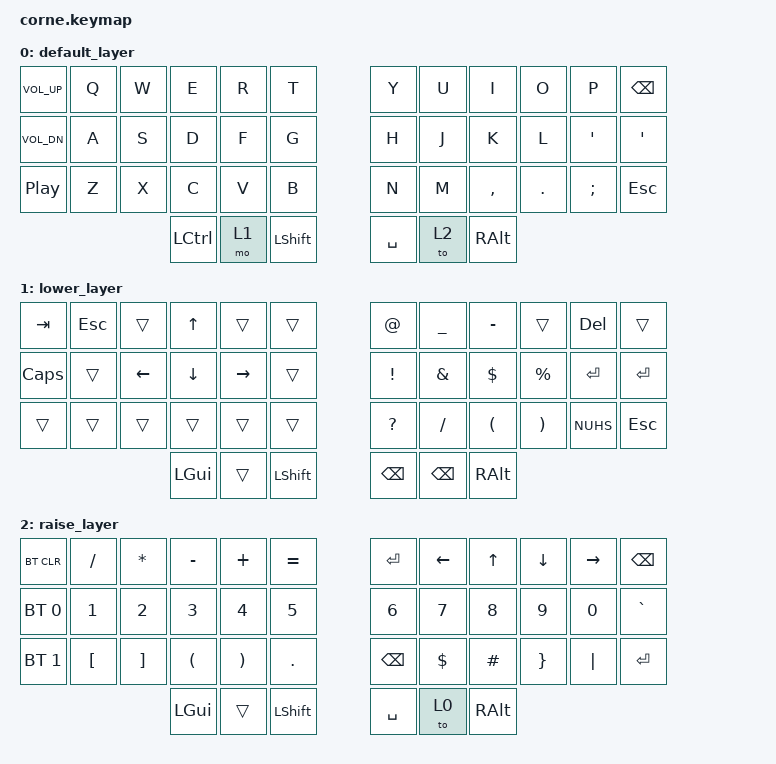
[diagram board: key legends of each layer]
/*
 * Copyright (c) 2020 The ZMK Contributors
 *
 * SPDX-License-Identifier: MIT
 */

#include <behaviors.dtsi>
#include <dt-bindings/zmk/keys.h>
#include <dt-bindings/zmk/bt.h>

/ {
        keymap {
                compatible = "zmk,keymap";

                default_layer {
// -----------------------------------------------------------------------------------------
// | VOL_UP     |  Q  |  W  |  E  |  R  |  T  |                   |  Y  |  U   |  I  |  O  |  P  | BKSP |
// | VOL_DN     |  A  |  S  |  D  |  F  |  G  |                   |  H  |  J   |  K  |  L  |  '  |  '   |
// | PLAY_PAUSE |  Z  |  X  |  C  |  V  |  B  |                   |  N  |  M   |  ,  |  .  |  ;  | ESC  |
//                          | GUI | LWR | SPC |                   | ENT | RSE  | ALT |
                        bindings = <
   &kp C_VOL_UP     &kp Q   &kp W  &kp E  &kp R  &kp T           &kp Y  &kp U  &kp I     &kp O   &kp P    &kp BSPC
   &kp C_VOL_DN     &kp A   &kp S  &kp D  &kp F  &kp G           &kp H  &kp J  &kp K     &kp L   &kp APOS &kp SQT
   &kp C_PLAY_PAUSE &kp Z   &kp X  &kp C  &kp V  &kp B           &kp N  &kp M  &kp COMMA &kp DOT &kp SEMI &kp ESC
                         &kp LCTRL   &mo 1   &kp LSHFT           &kp SPACE &to 2 &kp RALT
                        >;
                };
                lower_layer {
// -----------------------------------------------------------------------------------------
// |  TAB   | ESC |      |  UP  |       |     |                                           | @ |  _  |  -  |     | DEL |     |
// | CAPS   |     | LEFT | DOWN | RIGHT |     |                                           | ! |  &  |  $  |  %  | ENT |     |
// |        |     |      |      |       |     |                                           | ? |  /  |  (  |  )  |  \  |     | 
//                          | GUI |     |SHIFT|                                           |BKSP|BKSP| ALT |
                        bindings = <
   &kp TAB    &kp ESC      &trans       &kp UP       &trans       &trans                 &kp AT_SIGN        &kp UNDERSCORE   &kp MINUS     &trans      &kp DEL    &trans
   &kp CAPS   &trans       &kp LEFT     &kp DOWN     &kp RIGHT    &trans                 &kp EXCLAMATION    &kp AMPERSAND    &kp DOLLAR    &kp PERCENT &kp ENTER &kp ENTER
   &trans     &trans       &trans       &trans       &trans       &trans                 &kp QMARK          &kp SLASH        &kp LPAR      &kp RPAR    &kp NUHS  &kp ESC
                                        &kp LGUI     &trans       &kp LSHFT              &kp BSPC           &kp BSPC         &kp RALT
                        >;
                };

                raise_layer {
// -----------------------------------------------------------------------------------------
// | BT_CLR  |  /  |  *  |  -  |  +  |  =  |                                        | ENT | LFT | UP  | DWN | RGHT | BKSP |
// | BT1     |  1  |  2  |  3  |  4  |  5  |                                        |  6  |  7  |  8  |  9  |  0   |  `   |
// | BT2     |  [  |  ]  |  (  |  )  |  .  |                                        |  _  |  +  |  {  |  }  |  |   |  ~   |
//                       | GUI |     | SHFT |                                       | BKSP| TO0 | ALT |
                        bindings = <
   &bt BT_CLR    &kp SLASH &kp ASTERISK &kp MINUS  &kp PLUS   &kp EQUAL           &kp ENTER &kp LEFT    &kp UP     &kp DOWN  &kp RIGHT &kp BSPC
   &bt BT_SEL 0  &kp N1    &kp N2       &kp N3     &kp N4     &kp N5              &kp N6    &kp N7      &kp N8     &kp N9    &kp N0    &kp GRAVE
   &bt BT_SEL 1  &kp LBKT  &kp RBKT     &kp LPAR   &kp RPAR   &kp PERIOD          &kp BSPC  &kp DOLLAR  &kp HASH   &kp RBRC &kp PIPE &kp ENTER
                                        &kp LGUI   &trans     &kp LSHFT           &kp SPACE   &to 0    &kp RALT
                        >;
                };
        };
};


&kscan0 {
    row-gpios= <&pro_micro 4 (GPIO_ACTIVE_HIGH | GPIO_PULL_DOWN)>
        , <&pro_micro 5 (GPIO_ACTIVE_HIGH | GPIO_PULL_DOWN)>
        , <&pro_micro 8 (GPIO_ACTIVE_HIGH | GPIO_PULL_DOWN)>
        , <&pro_micro 7 (GPIO_ACTIVE_HIGH | GPIO_PULL_DOWN)>
        ;
    };
